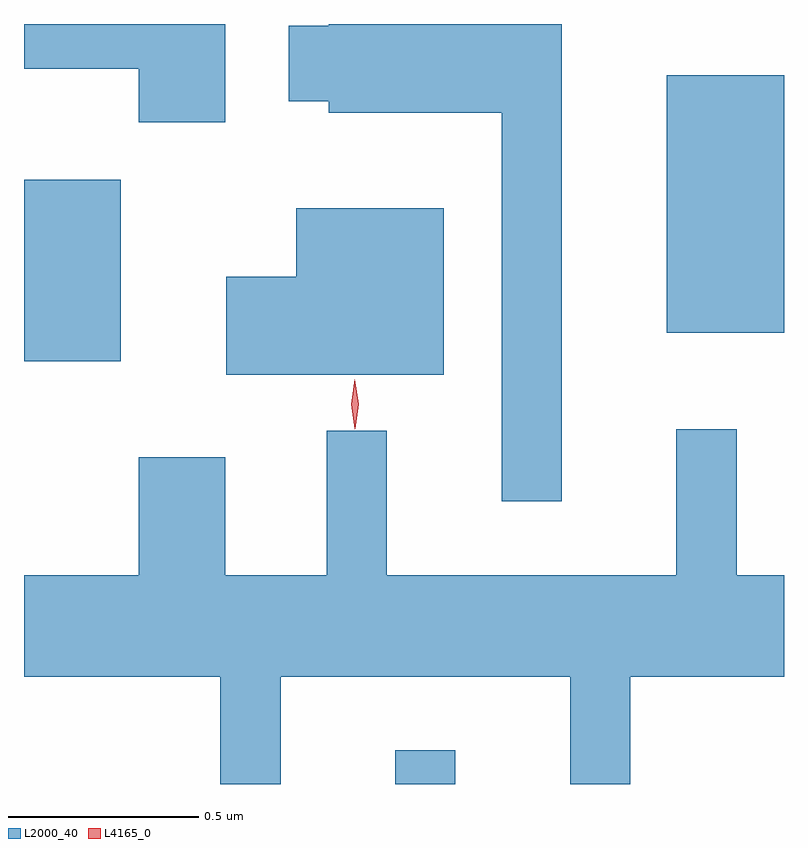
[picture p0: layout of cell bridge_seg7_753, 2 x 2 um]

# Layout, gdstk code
import gdstk
lib = gdstk.Library(unit=1e-6, precision=1e-09)
def R(c, l, rs):  # rectangles x0, y0, x1, y1
    for r in rs: c.add(gdstk.rectangle(r[:2], r[2:], *l))
def P(c, l, *ps):  # polygons
    for p in ps: c.add(gdstk.Polygon(p, *l))
L2000_40 = (2000, 40)
L4165_0 = (4165, 0)

bridge_seg7_753 = lib.new_cell('bridge_seg7_753')
R(bridge_seg7_753, L2000_40, [(538.556,1742.894,538.714,1742.983), (537.579,1744.006,537.834,1744.484), (539.271,1744.081,539.579,1744.759)])
P(bridge_seg7_753, L2000_40, [(538.994,1744.894),(538.381,1744.894),(538.381,1744.889),(538.276,1744.889),(538.276,1744.691),(538.381,1744.691),(538.381,1744.661),(538.836,1744.661),(538.836,1743.638),(538.994,1743.638)],
  [(538.109,1744.894),(537.579,1744.894),(537.579,1744.776),(537.881,1744.776),(537.881,1744.636),(538.109,1744.636)],
  [(538.684,1744.409),(538.296,1744.409),(538.296,1744.229),(538.111,1744.229),(538.111,1743.971),(538.684,1743.971)],
  [(538.254,1743.176),(539.016,1743.176),(539.016,1742.894),(539.174,1742.894),(539.174,1743.176),(539.579,1743.176),(539.579,1743.444),(539.454,1743.444),(539.454,1743.828),(539.296,1743.828),(539.296,1743.444),(538.534,1743.444),(538.534,1743.823),(538.376,1743.823),(538.376,1743.444),(538.109,1743.444),(538.109,1743.754),(537.881,1743.754),(537.881,1743.444),(537.579,1743.444),(537.579,1743.176),(538.096,1743.176),(538.096,1742.894),(538.254,1742.894)])
P(bridge_seg7_753, L4165_0, [(538.45,1743.828),(538.45,1743.829),(538.44,1743.894),(538.449,1743.959),(538.45,1743.959),(538.45,1743.959),(538.46,1743.894),(538.451,1743.829)])

lib.write_gds('bridge_seg7_753.gds')
